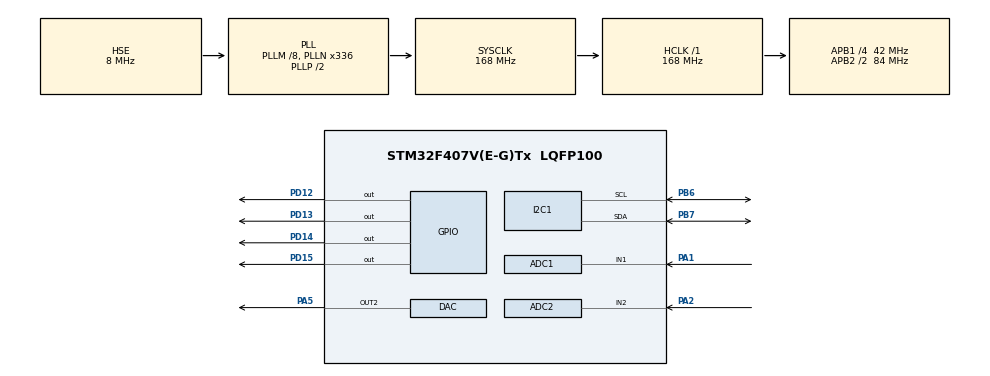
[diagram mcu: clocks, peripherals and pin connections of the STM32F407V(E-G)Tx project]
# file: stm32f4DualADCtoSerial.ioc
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ADC1.Channel-0\#ChannelRegularConversion=ADC_CHANNEL_1
ADC1.ClockPrescaler=ADC_CLOCKPRESCALER_PCLK_DIV4
ADC1.ContinuousConvMode=ENABLE
ADC1.DMAContinuousRequests=ENABLE
ADC1.DataAlign=ADC_DATAALIGN_RIGHT
ADC1.DiscontinuousConvMode=DISABLE
ADC1.EOCSelection=EOC_SINGLE_CONV
ADC1.EnableAnalogWatchDog=true
ADC1.ExternalTrigConvEdge=ADC_EXTERNALTRIGCONVEDGE_NONE
ADC1.HighThreshold=4000
ADC1.LowThreshold=100
ADC1.Mode=ADC_DUALMODE_REGSIMULT
ADC1.NbrOfConversion=1
ADC1.NbrOfConversionFlag=1
ADC1.Rank-0\#ChannelRegularConversion=1
ADC1.Resolution=ADC_RESOLUTION12b
ADC1.SamplingTime-0\#ChannelRegularConversion=ADC_SAMPLETIME_3CYCLES
ADC1.ScanConvMode=DISABLE
ADC1.WatchdogChannel=ADC_CHANNEL_1
ADC1.master=1
ADC2.Channel-0\#ChannelRegularConversion=ADC_CHANNEL_2
ADC2.ClockPrescaler=ADC_CLOCKPRESCALER_PCLK_DIV4
ADC2.ContinuousConvMode=ENABLE
ADC2.DMAAccessMode=ADC_DMAACCESSMODE_2
ADC2.DMAContinuousRequests=ENABLE
ADC2.DataAlign=ADC_DATAALIGN_RIGHT
ADC2.DiscontinuousConvMode=DISABLE
ADC2.EOCSelection=EOC_SINGLE_CONV
ADC2.EnableAnalogWatchDog=true
ADC2.HighThreshold=4000
ADC2.LowThreshold=100
ADC2.Mode=ADC_DUALMODE_REGSIMULT
ADC2.NbrOfConversion=1
ADC2.NbrOfConversionFlag=1
ADC2.Rank-0\#ChannelRegularConversion=1
ADC2.Resolution=ADC_RESOLUTION12b
ADC2.SamplingTime-0\#ChannelRegularConversion=ADC_SAMPLETIME_3CYCLES
ADC2.ScanConvMode=DISABLE
ADC2.WatchdogChannel=ADC_CHANNEL_2
DAC.DAC_OutputBuffer2=DAC_OUTPUTBUFFER_ENABLE
DAC.DAC_Trigger2=DAC_TRIGGER_T6_TRGO
Dma.ADC1.0.Channel=DMA_CHANNEL_0
Dma.ADC1.0.Direction=DMA_PERIPH_TO_MEMORY
Dma.ADC1.0.FIFOMode=DMA_FIFOMODE_DISABLE
Dma.ADC1.0.Instance=DMA2_Stream0
Dma.ADC1.0.MemDataAlignment=DMA_MDATAALIGN_WORD
Dma.ADC1.0.MemInc=DMA_MINC_ENABLE
Dma.ADC1.0.Mode=DMA_CIRCULAR
Dma.ADC1.0.PeriphDataAlignment=DMA_PDATAALIGN_WORD
Dma.ADC1.0.PeriphInc=DMA_PINC_DISABLE
Dma.ADC1.0.Priority=DMA_PRIORITY_VERY_HIGH
Dma.DAC2.1.Channel=DMA_CHANNEL_7
Dma.DAC2.1.Direction=DMA_MEMORY_TO_PERIPH
Dma.DAC2.1.FIFOMode=DMA_FIFOMODE_DISABLE
Dma.DAC2.1.Instance=DMA1_Stream6
Dma.DAC2.1.MemDataAlignment=DMA_MDATAALIGN_HALFWORD
Dma.DAC2.1.MemInc=DMA_MINC_ENABLE
Dma.DAC2.1.Mode=DMA_CIRCULAR
Dma.DAC2.1.PeriphDataAlignment=DMA_PDATAALIGN_HALFWORD
Dma.DAC2.1.PeriphInc=DMA_PINC_DISABLE
Dma.DAC2.1.Priority=DMA_PRIORITY_LOW
Dma.Request0=ADC1
Dma.Request1=DAC2
Mcu.Family=STM32F4
Mcu.Name=STM32F407V(E-G)Tx
Mcu.Package=LQFP100
NVIC.DMA1_Stream6_IRQn=true\:0\:0\:false
NVIC.DMA2_Stream0_IRQn=true\:0\:0\:false
NVIC.PriorityGroup=NVIC_PRIORITYGROUP_4
PA1.Signal=ADCx_IN1
PA2.Signal=ADCx_IN2
PA5.Signal=COMP_DAC2_group
PB13.Signal=SPI2_SCK
PB14.Signal=SPI2_MISO
PB15.Signal=SPI2_MOSI
PB6.Mode=I2C
PB6.Signal=I2C1_SCL
PB7.Mode=I2C
PB7.Signal=I2C1_SDA
PD12.Signal=GPIO_Output
PD13.Signal=GPIO_Output
PD14.Signal=GPIO_Output
PD15.Signal=GPIO_Output
PH0-OSC_IN.Mode=HSE-External-Oscillator
PH0-OSC_IN.Signal=RCC_OSC_IN
PH1-OSC_OUT.Mode=HSE-External-Oscillator
PH1-OSC_OUT.Signal=RCC_OSC_OUT
ProjectManager.TargetToolchain=SW4STM32
RCC.48MHZClocksFreq_Value=84000000
RCC.AHBFreq_Value=168000000
RCC.APB1CLKDivider=RCC_HCLK_DIV4
RCC.APB1Freq_Value=42000000
RCC.APB1TimFreq_Value=84000000
RCC.APB2CLKDivider=RCC_HCLK_DIV2
RCC.APB2Freq_Value=84000000
RCC.APB2TimFreq_Value=168000000
RCC.CortexFreq_Value=168000000
RCC.HCLKFreq_Value=168000000
RCC.HSE_VALUE=8000000
RCC.HSI_VALUE=16000000
RCC.LSE_VALUE=32768
RCC.PLLM=8
RCC.PLLN=336
RCC.PLLSourceVirtual=RCC_PLLSOURCE_HSE
RCC.SYSCLKFreq_VALUE=168000000
RCC.SYSCLKSource=RCC_SYSCLKSOURCE_PLLCLK
RCC.VCOOutputFreq_Value=336000000
SH.ADCx_IN1.0=ADC1_IN1,IN1
SH.ADCx_IN2.0=ADC2_IN2,IN2
SH.COMP_DAC2_group.0=DAC_OUT2,DAC_OUT2
TIM6.Period=0xFFF
TIM6.TIM_MasterOutputTrigger=TIM_TRGO_UPDATE
VP_TIM6_VS_ClockSourceINT.Mode=Enable_Timer
board=stm32f4DualADCtoSerial

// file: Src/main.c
/**
  ******************************************************************************
  * File Name          : main.c
  * Description        : Main program body
  ******************************************************************************
  *
  * COPYRIGHT(c) 2016 STMicroelectronics
  *
  * Redistribution and use in source and binary forms, with or without modification,
  * are permitted provided that the following conditions are met:
  *   1. Redistributions of source code must retain the above copyright notice,
  *      this list of conditions and the following disclaimer.
  *   2. Redistributions in binary form must reproduce the above copyright notice,
  *      this list of conditions and the following disclaimer in the documentation
  *      and/or other materials provided with the distribution.
  *   3. Neither the name of STMicroelectronics nor the names of its contributors
  *      may be used to endorse or promote products derived from this software
  *      without specific prior written permission.
  *
  * THIS SOFTWARE IS PROVIDED BY THE COPYRIGHT HOLDERS AND CONTRIBUTORS "AS IS"
  * AND ANY EXPRESS OR IMPLIED WARRANTIES, INCLUDING, BUT NOT LIMITED TO, THE
  * IMPLIED WARRANTIES OF MERCHANTABILITY AND FITNESS FOR A PARTICULAR PURPOSE ARE
  * DISCLAIMED. IN NO EVENT SHALL THE COPYRIGHT HOLDER OR CONTRIBUTORS BE LIABLE
  * FOR ANY DIRECT, INDIRECT, INCIDENTAL, SPECIAL, EXEMPLARY, OR CONSEQUENTIAL
  * DAMAGES (INCLUDING, BUT NOT LIMITED TO, PROCUREMENT OF SUBSTITUTE GOODS OR
  * SERVICES; LOSS OF USE, DATA, OR PROFITS; OR BUSINESS INTERRUPTION) HOWEVER
  * CAUSED AND ON ANY THEORY OF LIABILITY, WHETHER IN CONTRACT, STRICT LIABILITY,
  * OR TORT (INCLUDING NEGLIGENCE OR OTHERWISE) ARISING IN ANY WAY OUT OF THE USE
  * OF THIS SOFTWARE, EVEN IF ADVISED OF THE POSSIBILITY OF SUCH DAMAGE.
  *
  ******************************************************************************
  */
#include "stm32f4xx_hal.h"

/* USER CODE BEGIN Includes */
#include "stm32f4_discovery.h"
#include "main.h"
#include "arm_math.h"
#include "arm_common_tables.h"
/* USER CODE END Includes */

ADC_HandleTypeDef hadc1;
ADC_HandleTypeDef hadc2;
DMA_HandleTypeDef hdma_adc1;

DAC_HandleTypeDef hdac;
DMA_HandleTypeDef hdma_dac2;

I2C_HandleTypeDef hi2c1;

TIM_HandleTypeDef htim6;

/* USER CODE BEGIN PV */
/* Private variables ---------------------------------------------------------*/
VoltageStruct voltageStruct;

/* Buffer used for transmission */
uint8_t aTxBuffer[] = "message*";

/* Buffer used for reception */
uint8_t aRxBuffer[BUFFERSIZE];

/* Variable used to get converted value */
__IO uint32_t aADCDualConvertedValue[VOLTAGE_BUFFER_LENGTH] = { 0 };
__IO uint16_t uhADCxConvertedValue[VOLTAGE_BUFFER_LENGTH] = { 0 };
__IO uint16_t uhDACxConvertedValue = 0;
uint32_t sampleCounter = 0;
uint32_t sampleMultiplier = 0;
uint32_t bufferFirst[ETHERNET_BUFFER_LENGTH] = { 0 };
uint32_t bufferLast[ETHERNET_BUFFER_LENGTH] = { 0 };

#define sinBufferSize 1024
__IO uint16_t sinBuffer[sinBufferSize] = { 0 };

__IO ITStatus UartReady = RESET;

/* USER CODE END PV */

void SystemClock_Config(void);
static void MX_GPIO_Init(void);
static void MX_DMA_Init(void);
static void MX_ADC1_Init(void);
static void MX_ADC2_Init(void);
static void MX_DAC_Init(void);
static void MX_I2C1_Init(void);
static void MX_TIM6_Init(void);

/* USER CODE BEGIN PFP */
/* Private function prototypes -----------------------------------------------*/

/* Private function prototypes -----------------------------------------------*/
static void DAC_Ch2_SinConfig(void);
void processAdcPacket(uint32_t startIndex, uint32_t endIndex);

static void Error_Handler(void);
void HAL_ADC_ConvCpltCallback(ADC_HandleTypeDef* AdcHandle);

static void Error_Handler(void);

void broadcastVoltage(void);
/* USER CODE END PFP */

/* USER CODE BEGIN 0 */
uint32_t lastTime = 0;
void broadcastVoltage() {

	int lastTimeIndex = voltageStruct.bufferLength - (SINGLE_PACKET_LENGTH - 1);
	if (voltageStruct.bufferFirstHalf[lastTimeIndex] > lastTime) {

		lastTime = voltageStruct.bufferFirstHalf[lastTimeIndex];

	}
	if (voltageStruct.bufferLastHalf[lastTimeIndex] > lastTime) {

	}

}

/* USER CODE END 0 */

int main(void)
{

  /* USER CODE BEGIN 1 */
	voltageStruct.packetHeader = 0x0000AA55;
	voltageStruct.bufferFirstHalf = bufferFirst;
	voltageStruct.bufferLastHalf = bufferLast;
	voltageStruct.bufferLength = ETHERNET_BUFFER_LENGTH;
  /* USER CODE END 1 */

  /* MCU Configuration----------------------------------------------------------*/

  /* Reset of all peripherals, Initializes the Flash interface and the Systick. */
  HAL_Init();

  /* Configure the system clock */
  SystemClock_Config();

  /* Initialize all configured peripherals */
  MX_GPIO_Init();
  MX_DMA_Init();
  MX_ADC1_Init();
  MX_ADC2_Init();
  MX_DAC_Init();
  MX_I2C1_Init();
  MX_TIM6_Init();

  /* USER CODE BEGIN 2 */
	/* Configure LED3, LED4, LED5 and LED6 */
	BSP_LED_Init(LED3);
	BSP_LED_Init(LED4);
	BSP_LED_Init(LED5);
	BSP_LED_Init(LED6);

	/*##-2- Enable TIM peripheral counter ######################################*/
	HAL_TIM_Base_Start(&htim6);

	/*## Enable peripherals ####################################################*/

	/* Enable ADC slave */
	if (HAL_ADC_Start(&hadc2) != HAL_OK) {
		/* Start Error */
		Error_Handler();
	}

	/*## Start ADC conversions #################################################*/

	/* Start ADCx and ADCy multimode conversion with interruption */
	if (HAL_ADCEx_MultiModeStart_DMA(&hadc1,
			(uint32_t *) &aADCDualConvertedValue, VOLTAGE_BUFFER_LENGTH)
			!= HAL_OK) {
		/* Start Error */
		Error_Handler();
	}

	DAC_Ch2_SinConfig();

  /* USER CODE END 2 */

  /* Infinite loop */
	while (1) {

  /* USER CODE BEGIN 3 */
		broadcastVoltage();

	}
  /* USER CODE END 3 */

}

/** System Clock Configuration
*/
void SystemClock_Config(void)
{

  RCC_OscInitTypeDef RCC_OscInitStruct;
  RCC_ClkInitTypeDef RCC_ClkInitStruct;

  __PWR_CLK_ENABLE();

  __HAL_PWR_VOLTAGESCALING_CONFIG(PWR_REGULATOR_VOLTAGE_SCALE1);

  RCC_OscInitStruct.OscillatorType = RCC_OSCILLATORTYPE_HSE;
  RCC_OscInitStruct.HSEState = RCC_HSE_ON;
  RCC_OscInitStruct.PLL.PLLState = RCC_PLL_ON;
  RCC_OscInitStruct.PLL.PLLSource = RCC_PLLSOURCE_HSE;
  RCC_OscInitStruct.PLL.PLLM = 8;
  RCC_OscInitStruct.PLL.PLLN = 336;
  RCC_OscInitStruct.PLL.PLLP = RCC_PLLP_DIV2;
  RCC_OscInitStruct.PLL.PLLQ = 4;
  HAL_RCC_OscConfig(&RCC_OscInitStruct);

  RCC_ClkInitStruct.ClockType = RCC_CLOCKTYPE_SYSCLK|RCC_CLOCKTYPE_PCLK1
                              |RCC_CLOCKTYPE_PCLK2;
  RCC_ClkInitStruct.SYSCLKSource = RCC_SYSCLKSOURCE_PLLCLK;
  RCC_ClkInitStruct.AHBCLKDivider = RCC_SYSCLK_DIV1;
  RCC_ClkInitStruct.APB1CLKDivider = RCC_HCLK_DIV4;
  RCC_ClkInitStruct.APB2CLKDivider = RCC_HCLK_DIV2;
  HAL_RCC_ClockConfig(&RCC_ClkInitStruct, FLASH_LATENCY_5);

  HAL_SYSTICK_Config(HAL_RCC_GetHCLKFreq()/1000);

  HAL_SYSTICK_CLKSourceConfig(SYSTICK_CLKSOURCE_HCLK);

  /* SysTick_IRQn interrupt configuration */
  HAL_NVIC_SetPriority(SysTick_IRQn, 0, 0);
}

/* ADC1 init function */
void MX_ADC1_Init(void)
{

  ADC_MultiModeTypeDef multimode;
  ADC_AnalogWDGConfTypeDef AnalogWDGConfig;
  ADC_ChannelConfTypeDef sConfig;

    /**Configure the global features of the ADC (Clock, Resolution, Data Alignment and number of conversion)
    */
  hadc1.Instance = ADC1;
  hadc1.Init.ClockPrescaler = ADC_CLOCKPRESCALER_PCLK_DIV4;
  hadc1.Init.Resolution = ADC_RESOLUTION12b;
  hadc1.Init.ScanConvMode = DISABLE;
  hadc1.Init.ContinuousConvMode = ENABLE;
  hadc1.Init.DiscontinuousConvMode = DISABLE;
  hadc1.Init.ExternalTrigConvEdge = ADC_EXTERNALTRIGCONVEDGE_NONE;
  hadc1.Init.DataAlign = ADC_DATAALIGN_RIGHT;
  hadc1.Init.NbrOfConversion = 1;
  hadc1.Init.DMAContinuousRequests = ENABLE;
  hadc1.Init.EOCSelection = EOC_SINGLE_CONV;
  HAL_ADC_Init(&hadc1);

    /**Configure the ADC multi-mode
    */
  multimode.Mode = ADC_DUALMODE_REGSIMULT;
  multimode.DMAAccessMode = ADC_DMAACCESSMODE_2;
  multimode.TwoSamplingDelay = ADC_TWOSAMPLINGDELAY_5CYCLES;
  HAL_ADCEx_MultiModeConfigChannel(&hadc1, &multimode);

    /**Configure the analog watchdog
    */
  AnalogWDGConfig.WatchdogMode = ADC_ANALOGWATCHDOG_SINGLE_REG;
  AnalogWDGConfig.HighThreshold = 4000;
  AnalogWDGConfig.LowThreshold = 100;
  AnalogWDGConfig.Channel = ADC_CHANNEL_1;
  AnalogWDGConfig.ITMode = DISABLE;
  HAL_ADC_AnalogWDGConfig(&hadc1, &AnalogWDGConfig);

    /**Configure for the selected ADC regular channel its corresponding rank in the sequencer and its sample time.
    */
  sConfig.Channel = ADC_CHANNEL_1;
  sConfig.Rank = 1;
  sConfig.SamplingTime = ADC_SAMPLETIME_3CYCLES;
  HAL_ADC_ConfigChannel(&hadc1, &sConfig);

}

/* ADC2 init function */
void MX_ADC2_Init(void)
{

  ADC_MultiModeTypeDef multimode;
  ADC_AnalogWDGConfTypeDef AnalogWDGConfig;
  ADC_ChannelConfTypeDef sConfig;

    /**Configure the global features of the ADC (Clock, Resolution, Data Alignment and number of conversion)
    */
  hadc2.Instance = ADC2;
  hadc2.Init.ClockPrescaler = ADC_CLOCKPRESCALER_PCLK_DIV4;
  hadc2.Init.Resolution = ADC_RESOLUTION12b;
  hadc2.Init.ScanConvMode = DISABLE;
  hadc2.Init.ContinuousConvMode = ENABLE;
  hadc2.Init.DiscontinuousConvMode = DISABLE;
  hadc2.Init.DataAlign = ADC_DATAALIGN_RIGHT;
  hadc2.Init.NbrOfConversion = 1;
  hadc2.Init.DMAContinuousRequests = ENABLE;
  hadc2.Init.EOCSelection = EOC_SINGLE_CONV;
  HAL_ADC_Init(&hadc2);

    /**Configure the ADC multi-mode
    */
  multimode.Mode = ADC_DUALMODE_REGSIMULT;
  multimode.DMAAccessMode = ADC_DMAACCESSMODE_2;
  multimode.TwoSamplingDelay = ADC_TWOSAMPLINGDELAY_5CYCLES;
  HAL_ADCEx_MultiModeConfigChannel(&hadc2, &multimode);

    /**Configure the analog watchdog
    */
  AnalogWDGConfig.WatchdogMode = ADC_ANALOGWATCHDOG_SINGLE_REG;
  AnalogWDGConfig.HighThreshold = 4000;
  AnalogWDGConfig.LowThreshold = 100;
  AnalogWDGConfig.Channel = ADC_CHANNEL_2;
  AnalogWDGConfig.ITMode = DISABLE;
  HAL_ADC_AnalogWDGConfig(&hadc2, &AnalogWDGConfig);

    /**Configure for the selected ADC regular channel its corresponding rank in the sequencer and its sample time.
    */
  sConfig.Channel = ADC_CHANNEL_2;
  sConfig.Rank = 1;
  sConfig.SamplingTime = ADC_SAMPLETIME_3CYCLES;
  HAL_ADC_ConfigChannel(&hadc2, &sConfig);

}

/* DAC init function */
void MX_DAC_Init(void)
{

  DAC_ChannelConfTypeDef sConfig;

    /**DAC Initialization
    */
  hdac.Instance = DAC;
  HAL_DAC_Init(&hdac);

    /**DAC channel OUT2 config
    */
  sConfig.DAC_Trigger = DAC_TRIGGER_T6_TRGO;
  sConfig.DAC_OutputBuffer = DAC_OUTPUTBUFFER_ENABLE;
  HAL_DAC_ConfigChannel(&hdac, &sConfig, DAC_CHANNEL_2);

}

/* I2C1 init function */
void MX_I2C1_Init(void)
{

  hi2c1.Instance = I2C1;
  hi2c1.Init.ClockSpeed = 100000;
  hi2c1.Init.DutyCycle = I2C_DUTYCYCLE_2;
  hi2c1.Init.OwnAddress1 = 0;
  hi2c1.Init.AddressingMode = I2C_ADDRESSINGMODE_7BIT;
  hi2c1.Init.DualAddressMode = I2C_DUALADDRESS_DISABLED;
  hi2c1.Init.OwnAddress2 = 0;
  hi2c1.Init.GeneralCallMode = I2C_GENERALCALL_DISABLED;
  hi2c1.Init.NoStretchMode = I2C_NOSTRETCH_DISABLED;
  HAL_I2C_Init(&hi2c1);

}

/* TIM6 init function */
void MX_TIM6_Init(void)
{

  TIM_MasterConfigTypeDef sMasterConfig;

  htim6.Instance = TIM6;
  htim6.Init.Prescaler = 0;
  htim6.Init.CounterMode = TIM_COUNTERMODE_UP;
  htim6.Init.Period = 0xFFF;
  HAL_TIM_Base_Init(&htim6);

  sMasterConfig.MasterOutputTrigger = TIM_TRGO_UPDATE;
  sMasterConfig.MasterSlaveMode = TIM_MASTERSLAVEMODE_DISABLE;
  HAL_TIMEx_MasterConfigSynchronization(&htim6, &sMasterConfig);

}

void MX_DMA_Init(void)
{
  /* DMA controller clock enable */
  __DMA2_CLK_ENABLE();
  __DMA1_CLK_ENABLE();

  /* DMA interrupt init */
  HAL_NVIC_SetPriority(DMA1_Stream6_IRQn, 0, 0);
  HAL_NVIC_EnableIRQ(DMA1_Stream6_IRQn);
  HAL_NVIC_SetPriority(DMA2_Stream0_IRQn, 0, 0);
  HAL_NVIC_EnableIRQ(DMA2_Stream0_IRQn);

}

/** Configure pins as
        * Analog
        * Input
        * Output
        * EVENT_OUT
        * EXTI
     PB13   ------> SPI2_SCK
     PB14   ------> SPI2_MISO
     PB15   ------> SPI2_MOSI
*/
void MX_GPIO_Init(void)
{

  GPIO_InitTypeDef GPIO_InitStruct;

  /* GPIO Ports Clock Enable */
  __GPIOH_CLK_ENABLE();
  __GPIOA_CLK_ENABLE();
  __GPIOB_CLK_ENABLE();
  __GPIOD_CLK_ENABLE();

  /*Configure GPIO pins : PB13 PB14 PB15 */
  GPIO_InitStruct.Pin = GPIO_PIN_13|GPIO_PIN_14|GPIO_PIN_15;
  GPIO_InitStruct.Mode = GPIO_MODE_AF_PP;
  GPIO_InitStruct.Pull = GPIO_NOPULL;
  GPIO_InitStruct.Speed = GPIO_SPEED_HIGH;
  GPIO_InitStruct.Alternate = GPIO_AF5_SPI2;
  HAL_GPIO_Init(GPIOB, &GPIO_InitStruct);

  /*Configure GPIO pins : PD12 PD13 PD14 PD15 */
  GPIO_InitStruct.Pin = GPIO_PIN_12|GPIO_PIN_13|GPIO_PIN_14|GPIO_PIN_15;
  GPIO_InitStruct.Mode = GPIO_MODE_OUTPUT_PP;
  GPIO_InitStruct.Pull = GPIO_NOPULL;
  GPIO_InitStruct.Speed = GPIO_SPEED_LOW;
  HAL_GPIO_Init(GPIOD, &GPIO_InitStruct);

}

/* USER CODE BEGIN 4 */

/**
 * @brief  This function is executed in case of error occurrence.
 * @param  None
 * @retval None
 */
static void Error_Handler(void) {
	/* Turn LED5 on */
	BSP_LED_On(LED5);
	while (1) {
	}
}

int i, firstHalfBufferIsActive = 1;
uint32_t tick = 0;
/**
 * @brief  Conversion complete callback in non blocking mode
 * @param  AdcHandle : AdcHandle handle
 * @note   This example shows a simple way to report end of conversion, and
 *         you can add your own implementation.
 * @retval None
 */
void HAL_ADC_ConvCpltCallback(ADC_HandleTypeDef* AdcHandle) {
	int startIndex = VOLTAGE_BUFFER_LENGTH / 2;
	int endIndex = VOLTAGE_BUFFER_LENGTH;
	processAdcPacket(startIndex, endIndex);
}

void HAL_ADC_ConvHalfCpltCallback(ADC_HandleTypeDef* AdcHandle) {
	int startIndex = 0;
	int endIndex = VOLTAGE_BUFFER_LENGTH / 2;
	processAdcPacket(startIndex, endIndex);
}

void processAdcPacket(uint32_t startIndex, uint32_t endIndex) {
	uint32_t j, masterConvertedValue = 0, slaveConvertedValue = 0;

	for (j = startIndex; j < endIndex; j++) {
		masterConvertedValue += aADCDualConvertedValue[j] & 0xFFFF;
		slaveConvertedValue += aADCDualConvertedValue[j] >> 16;
	}

	if (firstHalfBufferIsActive) {
		voltageStruct.bufferFirstHalf[i] = voltageStruct.packetHeader;
		voltageStruct.bufferFirstHalf[i + 1] = tick;
		voltageStruct.bufferFirstHalf[i + 2] = masterConvertedValue
				/ (VOLTAGE_BUFFER_LENGTH / 2);
		voltageStruct.bufferFirstHalf[i + 3] = slaveConvertedValue
				/ (VOLTAGE_BUFFER_LENGTH / 2);
	} else {
		voltageStruct.bufferLastHalf[i] = voltageStruct.packetHeader;
		voltageStruct.bufferLastHalf[i + 1] = tick;
		voltageStruct.bufferLastHalf[i + 2] = masterConvertedValue
				/ (VOLTAGE_BUFFER_LENGTH / 2);
		voltageStruct.bufferLastHalf[i + 3] = slaveConvertedValue
				/ (VOLTAGE_BUFFER_LENGTH / 2);
	}
	tick += 1;

	if (i < ETHERNET_BUFFER_LENGTH - SINGLE_PACKET_LENGTH) {
		i += SINGLE_PACKET_LENGTH;
	} else {
		i = 0;
		firstHalfBufferIsActive = !firstHalfBufferIsActive;
	}

}

/**
 * @brief  Error DAC callback for Channel1.
 * @param  hdac: pointer to a DAC_HandleTypeDef structure that contains
 *         the configuration information for the specified DAC.
 * @retval None
 */
void HAL_DAC_ErrorCallbackCh2(DAC_HandleTypeDef *hdac) {
	Error_Handler();
}

/**
 * @brief  DMA underrun DAC callback for channel1.
 * @param  hdac: pointer to a DAC_HandleTypeDef structure that contains
 *         the configuration information for the specified DAC.
 * @retval None
 */
void HAL_DAC_DMAUnderrunCallbackCh2(DAC_HandleTypeDef *hdac) {
	Error_Handler();
}

#define PERIOD 2520
static void DAC_Ch2_SinConfig(void) {

	float32_t phase, sin, cos;

	uint16_t waveformValue;

	int i;
	for (i = 0; i < sinBufferSize; i++) {
		phase = ((float32_t) i) * 2. * 3.14 / ((float32_t) sinBufferSize);
		sin = arm_sin_f32(phase * 10.0);
		cos = arm_cos_f32(phase);

		waveformValue = (2048. + 1024. * (.3 * sin + cos) / 2.) / 1.59;
		sinBuffer[i] = waveformValue;
	}

	/*##-2- Enable DAC selected channel and associated DMA #############################*/
	if (HAL_DAC_Start_DMA(&hdac, DAC_CHANNEL_2, (uint32_t *) sinBuffer,
			(size_t) sinBufferSize, DAC_ALIGN_12B_R) != HAL_OK) {
		/* Start DMA Error */
		Error_Handler();
	}
}

/* USER CODE END 4 */

/************************ (C) COPYRIGHT STMicroelectronics *****END OF FILE****/
